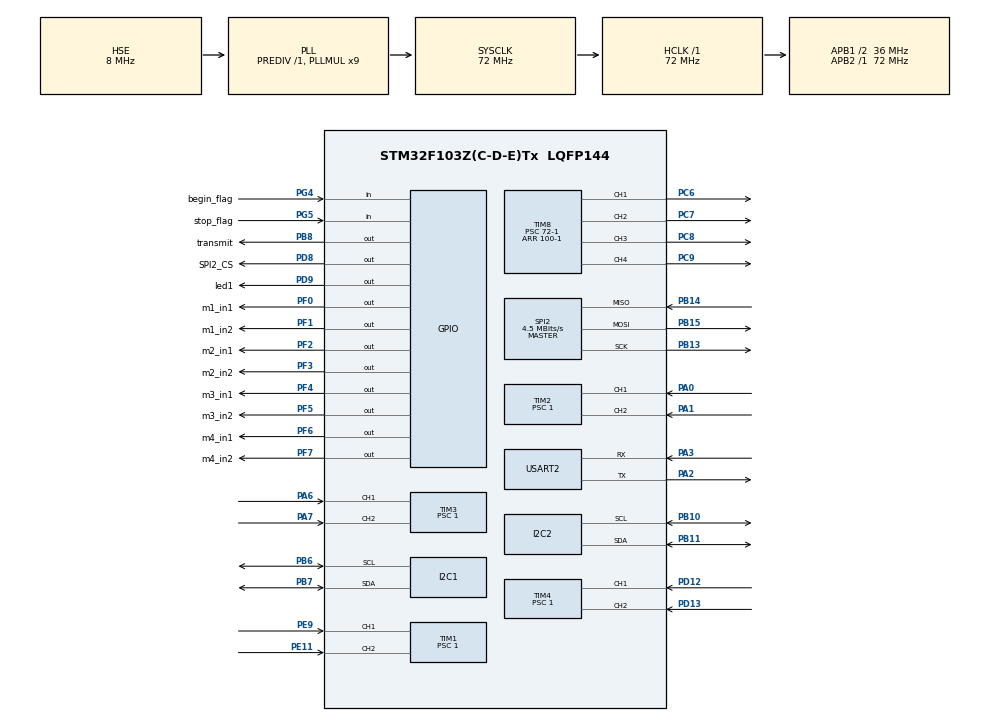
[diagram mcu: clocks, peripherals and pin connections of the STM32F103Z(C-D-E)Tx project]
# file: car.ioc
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Dma.Request0=USART2_RX
Dma.Request1=USART2_TX
Dma.USART2_RX.0.Direction=DMA_PERIPH_TO_MEMORY
Dma.USART2_RX.0.Instance=DMA1_Channel6
Dma.USART2_RX.0.MemDataAlignment=DMA_MDATAALIGN_BYTE
Dma.USART2_RX.0.MemInc=DMA_MINC_ENABLE
Dma.USART2_RX.0.Mode=DMA_NORMAL
Dma.USART2_RX.0.PeriphDataAlignment=DMA_PDATAALIGN_BYTE
Dma.USART2_RX.0.PeriphInc=DMA_PINC_DISABLE
Dma.USART2_RX.0.Priority=DMA_PRIORITY_LOW
Dma.USART2_TX.1.Direction=DMA_MEMORY_TO_PERIPH
Dma.USART2_TX.1.Instance=DMA1_Channel7
Dma.USART2_TX.1.MemDataAlignment=DMA_MDATAALIGN_BYTE
Dma.USART2_TX.1.MemInc=DMA_MINC_ENABLE
Dma.USART2_TX.1.Mode=DMA_NORMAL
Dma.USART2_TX.1.PeriphDataAlignment=DMA_PDATAALIGN_BYTE
Dma.USART2_TX.1.PeriphInc=DMA_PINC_DISABLE
Dma.USART2_TX.1.Priority=DMA_PRIORITY_LOW
I2C1.I2C_Mode=I2C_Fast
I2C2.I2C_Mode=I2C_Fast
Mcu.Family=STM32F1
Mcu.Name=STM32F103Z(C-D-E)Tx
Mcu.Package=LQFP144
NVIC.DMA1_Channel6_IRQn=true\:0\:0\:false\:false\:true\:false\:true\:true
NVIC.DMA1_Channel7_IRQn=true\:0\:0\:false\:false\:true\:false\:true\:true
NVIC.PriorityGroup=NVIC_PRIORITYGROUP_4
NVIC.TIM6_IRQn=true\:1\:0\:true\:false\:true\:true\:true\:true
NVIC.USART2_IRQn=true\:0\:0\:false\:false\:true\:true\:true\:true
OSC_IN.Mode=HSE-External-Oscillator
OSC_IN.Signal=RCC_OSC_IN
OSC_OUT.Mode=HSE-External-Oscillator
OSC_OUT.Signal=RCC_OSC_OUT
PA0-WKUP.Signal=S_TIM2_CH1_ETR
PA1.Signal=S_TIM2_CH2
PA13.Mode=Serial_Wire
PA13.Signal=SYS_JTMS-SWDIO
PA14.Mode=Serial_Wire
PA14.Signal=SYS_JTCK-SWCLK
PA2.Mode=Asynchronous
PA2.Signal=USART2_TX
PA3.Mode=Asynchronous
PA3.Signal=USART2_RX
PA6.Signal=S_TIM3_CH1
PA7.Signal=S_TIM3_CH2
PB10.Mode=I2C
PB10.Signal=I2C2_SCL
PB11.Mode=I2C
PB11.Signal=I2C2_SDA
PB13.Mode=Full_Duplex_Master
PB13.Signal=SPI2_SCK
PB14.Mode=Full_Duplex_Master
PB14.Signal=SPI2_MISO
PB15.Mode=Full_Duplex_Master
PB15.Signal=SPI2_MOSI
PB6.Mode=I2C
PB6.Signal=I2C1_SCL
PB7.Mode=I2C
PB7.Signal=I2C1_SDA
PB8.GPIO_Label=transmit
PB8.Signal=GPIO_Output
PC6.Signal=S_TIM8_CH1
PC7.Signal=S_TIM8_CH2
PC8.Signal=S_TIM8_CH3
PC9.Signal=S_TIM8_CH4
PD12.Signal=S_TIM4_CH1
PD13.Signal=S_TIM4_CH2
PD8.GPIO_Label=SPI2_CS
PD8.GPIO_Speed=GPIO_SPEED_FREQ_HIGH
PD8.PinState=GPIO_PIN_SET
PD8.Signal=GPIO_Output
PD9.GPIO_Label=led1
PD9.Signal=GPIO_Output
PE11.Signal=S_TIM1_CH2
PE9.Signal=S_TIM1_CH1
PF0.GPIO_Label=m1_in1
PF0.Signal=GPIO_Output
PF1.GPIO_Label=m1_in2
PF1.Signal=GPIO_Output
PF2.GPIO_Label=m2_in1
PF2.Signal=GPIO_Output
PF3.GPIO_Label=m2_in2
PF3.Signal=GPIO_Output
PF4.GPIO_Label=m3_in1
PF4.Signal=GPIO_Output
PF5.GPIO_Label=m3_in2
PF5.Signal=GPIO_Output
PF6.GPIO_Label=m4_in1
PF6.Signal=GPIO_Output
PF7.GPIO_Label=m4_in2
PF7.Signal=GPIO_Output
PG4.GPIO_Label=begin_flag
PG4.GPIO_PuPd=GPIO_PULLDOWN
PG4.Signal=GPIO_Input
PG5.GPIO_Label=stop_flag
PG5.GPIO_PuPd=GPIO_PULLDOWN
PG5.Signal=GPIO_Input
ProjectManager.HeapSize=0x200
ProjectManager.StackSize=0x400
ProjectManager.TargetToolchain=STM32CubeIDE
RCC.AHBFreq_Value=72000000
RCC.APB1CLKDivider=RCC_HCLK_DIV2
RCC.APB1Freq_Value=36000000
RCC.APB1TimFreq_Value=72000000
RCC.APB2Freq_Value=72000000
RCC.APB2TimFreq_Value=72000000
RCC.HCLKFreq_Value=72000000
RCC.PLLMUL=RCC_PLL_MUL9
RCC.PLLSourceVirtual=RCC_PLLSOURCE_HSE
RCC.SYSCLKFreq_VALUE=72000000
RCC.SYSCLKSource=RCC_SYSCLKSOURCE_PLLCLK
RCC.USBFreq_Value=72000000
SH.S_TIM1_CH1.0=TIM1_CH1,Encoder_Interface
SH.S_TIM1_CH2.0=TIM1_CH2,Encoder_Interface
SH.S_TIM2_CH1_ETR.0=TIM2_CH1,Encoder_Interface
SH.S_TIM2_CH2.0=TIM2_CH2,Encoder_Interface
SH.S_TIM3_CH1.0=TIM3_CH1,Encoder_Interface
SH.S_TIM3_CH2.0=TIM3_CH2,Encoder_Interface
SH.S_TIM4_CH1.0=TIM4_CH1,Encoder_Interface
SH.S_TIM4_CH2.0=TIM4_CH2,Encoder_Interface
SH.S_TIM8_CH1.0=TIM8_CH1,PWM Generation1 CH1
SH.S_TIM8_CH2.0=TIM8_CH2,PWM Generation2 CH2
SH.S_TIM8_CH3.0=TIM8_CH3,PWM Generation3 CH3
SH.S_TIM8_CH4.0=TIM8_CH4,PWM Generation4 CH4
SPI2.BaudRatePrescaler=SPI_BAUDRATEPRESCALER_8
SPI2.CLKPhase=SPI_PHASE_2EDGE
SPI2.CLKPolarity=SPI_POLARITY_HIGH
SPI2.CalculateBaudRate=4.5 MBits/s
SPI2.Direction=SPI_DIRECTION_2LINES
SPI2.Mode=SPI_MODE_MASTER
SPI2.VirtualType=VM_MASTER
TIM1.IC1Filter=15
TIM1.IC2Filter=15
TIM1.Prescaler=1
TIM2.IC1Filter=15
TIM2.IC2Filter=15
TIM2.Prescaler=1
TIM3.IC1Filter=15
TIM3.IC2Filter=15
TIM3.Prescaler=1
TIM4.IC1Filter=15
TIM4.IC2Filter=15
TIM4.Prescaler=1
TIM6.Period=1000-1
TIM6.Prescaler=720-1
TIM8.Channel-PWM\ Generation1\ CH1=TIM_CHANNEL_1
TIM8.Channel-PWM\ Generation2\ CH2=TIM_CHANNEL_2
TIM8.Channel-PWM\ Generation3\ CH3=TIM_CHANNEL_3
TIM8.Channel-PWM\ Generation4\ CH4=TIM_CHANNEL_4
TIM8.Period=100-1
TIM8.Prescaler=72-1
USART2.VirtualMode=VM_ASYNC
VP_TIM6_VS_ClockSourceINT.Mode=Enable_Timer
VP_TIM8_VS_ClockSourceINT.Mode=Internal
board=custom

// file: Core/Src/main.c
/* USER CODE BEGIN Header */
/**
  ******************************************************************************
  * @file           : main.c
  * @brief          : Main program body
  ******************************************************************************
  * @attention
  *
  * Copyright (c) 2025 STMicroelectronics.
  * All rights reserved.
  *
  * This software is licensed under terms that can be found in the LICENSE file
  * in the root directory of this software component.
  * If no LICENSE file comes with this software, it is provided AS-IS.
  *
  ******************************************************************************
  */
/* USER CODE END Header */
#include "main.h"
#include "dma.h"
#include "i2c.h"
#include "spi.h"
#include "tim.h"
#include "usart.h"
#include "gpio.h"

/* USER CODE BEGIN Includes */
#include<stdio.h>
#include<string.h>
#include"pid.h"
#include"icm20948.h"
#include"icm20948_ahrs.h"
#include"position.h"
#include"oled.h"
#include"MPU6050.h"
#include"recieve data.h"
/* USER CODE END Includes */

/* USER CODE BEGIN PTD */
//      char message[20]="a";
//		char message2[20]="a";
//		char message3[20]="a";
//		float speed=0.0;
//		float out1;
//		uint16_t count=0;
//		int sum=0;
//	    float target,actual,errsum;
//   axises gyro, accel, mag;
//axises my_fiterdata;
//Attitude my_attitude;
//AttitudeSolver_t attitude;
//Attitude_t angles;
extern float last_gyro_zero_z;
extern DMA_HandleTypeDef hdma_usart2_rx;
bool calibrationComplete = false;
bool flag=1;
bool game_begin=false;
//bool game_begin=true;
bool stop_flag=false;
bool half_flag=false;
bool position_state=false;
bool rotate_state=false;
char position_data[64];
float positiondata_float[4];
int count=1;
int rotate_count=0;
int check;

extern int count_now1,count_now2,count_now3,count_now4;
MPU6050 MM;

   //   uint8_t flag,flag_test_PID=0;
      float count1,count2,count3,count4;
void HAL_TIM_PeriodElapsedCallback(TIM_HandleTypeDef *htim){
	if(htim==&htim6){
static int count5=0;
 count5++;
MPU6050_Get_Angle_Plus(& MM) ;
static uint8_t buffer[30];
			 sprintf(buffer,"%f",MM.yaw);
			  OLED_NewFrame();
			 OLED_PrintString(13, 30 , buffer, &font16x16, OLED_COLOR_NORMAL);
			  OLED_ShowFrame();
      if(count5==6){

		 if(MM.yaw*3<=65) {pid_speed_control(-40, 40, -40, 40);}
		 else if(MM.yaw*3<=87){pid_speed_control(-20,20, -20, 20);}
//		 else if(MM.yaw*3>93){
//			 pid_speed_control(-10,10, -10, 10);
//		 }
		 else {
			 motor_PWM_control4(0,0,0,0);

				 rotate_state=true;
				  reinit();
				 HAL_TIM_Base_Stop_IT(&htim6);
				 __HAL_TIM_CLEAR_FLAG(&htim6,TIM_IT_UPDATE);
				 __HAL_TIM_DISABLE_IT(&htim6,TIM_IT_UPDATE);
		 }
count5=0;
	}
	}

}
void HAL_UARTEx_RxEventCallback(UART_HandleTypeDef *huart, uint16_t Size){

	if(huart==&huart2)
	{check++;
		//HAL_UART_Transmit(&huart2, (uint8_t*)position_data, sizeof(position_data),Size);
		Unpack_Floats(position_data,positiondata_float);
 //int aaa=Unpack_Floats(position_data,positiondata_float);

//if(aaa==4){

if(positiondata_float[2]>=2){
	half_flag=true;

}
if(half_flag){
	if(positiondata_float[0]<=0.5){
		 motor_PWM_control4(0,0,0,0);
position_state=true;

	}
}
			  PositionPID_Control(30,positiondata_float[1]);

//			if(positiondata_float[0]<=1.20){
//				 PositionPID_Control(20,positiondata_float[1]);
//			}
//			else if (positiondata_float[0]<=1.05) {
//				//Second_Level_Control(positiondata_float, 0,1);
//				 motor_PWM_control4(0,0,0,0);
//				 position_state=true;
//			}
//			else{
//				 PositionPID_Control(30,positiondata_float[1]);
//			}

//		if(count==?){
//			//降速
//		}
	  memset(position_data, 0, sizeof(position_data));
		  HAL_UARTEx_ReceiveToIdle_DMA(&huart2, (uint8_t*)position_data, sizeof( position_data));
		 __HAL_DMA_DISABLE_IT(&hdma_usart2_rx,DMA_IT_HT);

	}

}

/* USER CODE END PTD */

void SystemClock_Config(void);

int main(void)
{

  /* MCU Configuration--------------------------------------------------------*/

  /* Reset of all peripherals, Initializes the Flash interface and the Systick. */
  HAL_Init();

  /* Configure the system clock */
  SystemClock_Config();

  /* Initialize all configured peripherals */
  MX_GPIO_Init();
  MX_DMA_Init();
  MX_I2C1_Init();
  MX_TIM1_Init();
  MX_TIM2_Init();
  MX_TIM3_Init();
  MX_TIM4_Init();
  MX_TIM6_Init();
  MX_TIM8_Init();
  MX_SPI2_Init();
  MX_I2C2_Init();
  MX_USART2_UART_Init();
  /* USER CODE BEGIN 2 */
  HAL_Delay(20);
  OLED_Init();

  OLED_NewFrame();
 OLED_PrintString(13, 30 , "wait", &font16x16, OLED_COLOR_NORMAL);
  OLED_ShowFrame();
  MPU6050_init(&hi2c1);
  OLED_NewFrame();
  OLED_PrintString(13, 30 , "ok", &font16x16, OLED_COLOR_NORMAL);
   OLED_ShowFrame();
//  system_init();
//
//		    // 初始化姿态解算器
//		      Attitude_Init(&attitude);
//
//		      // 校准陀螺仪Z轴
//  Attitude_Calibrate_Gyro_Z(&attitude, 500);
//     Attitude_Calibrate_Accel(&attitude, 500);     // 加速度计校准
// icm20948_gyro_read_dps(&gyro);
//  icm20948_accel_read_g(&accel);
 // 更新姿态（选择一种算法）
 //   Attitude_Update_Complementary(&attitude, &gyro, &accel, 0.01f);
		     	        // 或者使用四元数算法
 // Attitude_Update_Quaternion(&attitude, &gyro, &accel, 0.01f);

		     	        // 获取姿态角
//  Attitude_Get_Angles(&attitude, &angles);
//   static char buffer22[16];
//	 snprintf(buffer22, sizeof(buffer22), "yaw:%.2f", angles.yaw);
// OLED_NewFrame();
//OLED_PrintString(13, 30 , buffer22, &font16x16, OLED_COLOR_NORMAL);
// OLED_ShowFrame();

  HAL_TIM_Encoder_Start(&htim1, TIM_CHANNEL_ALL);
  HAL_TIM_Encoder_Start(&htim2, TIM_CHANNEL_ALL);
  HAL_TIM_Encoder_Start(&htim3, TIM_CHANNEL_ALL);
  HAL_TIM_Encoder_Start(&htim4, TIM_CHANNEL_ALL);
  HAL_TIM_PWM_Start(&htim8,TIM_CHANNEL_1);
  HAL_TIM_PWM_Start(&htim8,TIM_CHANNEL_2);
  HAL_TIM_PWM_Start(&htim8,TIM_CHANNEL_3);
  HAL_TIM_PWM_Start(&htim8,TIM_CHANNEL_4);

 //HAL_TIM_Base_Start_IT(&htim6);
 // HAL_TIM_Base_Stop_IT(&htim6);

//  HAL_UARTEx_ReceiveToIdle_DMA(&huart2, (uint8_t*)position_data, sizeof( position_data));
// __HAL_DMA_DISABLE_IT(&hdma_usart2_rx,DMA_IT_HT);
//HAL_GPIO_WritePin(transmit_GPIO_Port, transmit_Pin, GPIO_PIN_SET);

  /* USER CODE END 2 */

  /* Infinite loop */
  /* USER CODE BEGIN WHILE */
  while (1)
  {

//	  if(rotate_state){/
//		  HAL_TIM_Base_Stop_IT(&htim6);
//	  }
//	     static char buffer22[16];
//	  	 snprintf(buffer22, sizeof(buffer22), "yaw:%.2f", MM.yaw);
//	   OLED_NewFrame();
//	  OLED_PrintString(13, 30 , buffer22, &font16x16, OLED_COLOR_NORMAL);
//	   OLED_ShowFrame();
	  //********************************************
	  if(HAL_GPIO_ReadPin(begin_flag_GPIO_Port, begin_flag_Pin)==GPIO_PIN_SET&&!game_begin){
		  game_begin=true;

	  }
//	  if(HAL_GPIO_ReadPin(stop_flag_GPIO_Port, stop_flag_Pin)==GPIO_PIN_SET&&!stop_flag){
//		  stop_flag=true;
//		  HAL_TIM_PWM_Stop(&htim8, TIM_CHANNEL_ALL);
//		  HAL_TIM_Base_Stop_IT(&htim6);
//		  HAL_UART_DMAStop(&huart2);
//	  }
	  if(game_begin&&!stop_flag){

//
//	  if(HAL_GPIO_ReadPin(stop_flag_GPIO_Port, stop_flag_Pin)==GPIO_PIN_SET&&!stop_flag){
//		  HAL_TIM_Base_Stop_IT(&htim6);
//		  HAL_TIM_PWM_Stop(&htim8, TIM_CHANNEL_ALL);
//		  game_begin=false;  }

	  if(count==1&&!position_state&&!rotate_state){
		  HAL_TIM_Base_Stop_IT(&htim6);
		  HAL_UARTEx_ReceiveToIdle_DMA(&huart2, (uint8_t*)position_data, sizeof( position_data));
		 __HAL_DMA_DISABLE_IT(&hdma_usart2_rx,DMA_IT_HT);
		 HAL_GPIO_WritePin(transmit_GPIO_Port, transmit_Pin, GPIO_PIN_SET);

	  }
	  else if(count==1&&!rotate_state&&position_state){
		  HAL_GPIO_WritePin(transmit_GPIO_Port, transmit_Pin, GPIO_PIN_RESET);
		  HAL_UART_DMAStop(&huart2);
		  memset(position_data, 0, sizeof(position_data));
		  MPU6050_FastResetYaw_Complementary(&MM);
		  __HAL_TIM_ENABLE_IT(&htim6,TIM_IT_UPDATE);
				  HAL_TIM_Base_Start_IT(&htim6);
	  }
	  else if(count==1&&position_state&&rotate_state){
		  count++;
		  position_state=false;
			  rotate_state=false;
			  HAL_TIM_Base_Stop_IT(&htim6);
			  __HAL_TIM_DISABLE_IT(&htim6,TIM_IT_UPDATE);
	  }
//***********************************************
	  if(count==2&&!position_state&&!rotate_state){
		  HAL_TIM_Base_Stop_IT(&htim6);
		  HAL_UARTEx_ReceiveToIdle_DMA(&huart2, (uint8_t*)position_data, sizeof( position_data));
		 __HAL_DMA_DISABLE_IT(&hdma_usart2_rx,DMA_IT_HT);

		 HAL_GPIO_WritePin(transmit_GPIO_Port, transmit_Pin, GPIO_PIN_SET);
	  }
	  else if(count==2&&!rotate_state&&position_state){
		  __HAL_TIM_ENABLE_IT(&htim6,TIM_IT_UPDATE);

		  HAL_GPIO_WritePin(transmit_GPIO_Port, transmit_Pin, GPIO_PIN_RESET);
		  HAL_UART_DMAStop(&huart2);
			  memset(position_data, 0, sizeof(position_data));
			  MPU6050_FastResetYaw_Complementary(&MM);

			  HAL_TIM_Base_Start_IT(&htim6);
	  }
	  else if(count==2&&position_state&&rotate_state){
		  count++;
		  position_state=false;
			  rotate_state=false;
			  HAL_TIM_Base_Stop_IT(&htim6);
			  __HAL_TIM_DISABLE_IT(&htim6,TIM_IT_UPDATE);
	  }
	  //**********************************************
	  if(count==3&&!position_state&&!rotate_state){
		  HAL_TIM_Base_Stop_IT(&htim6);
		  HAL_UARTEx_ReceiveToIdle_DMA(&huart2, (uint8_t*)position_data, sizeof( position_data));
		 __HAL_DMA_DISABLE_IT(&hdma_usart2_rx,DMA_IT_HT);

		 HAL_GPIO_WritePin(transmit_GPIO_Port, transmit_Pin, GPIO_PIN_SET);
	  }
	  else if(count==3&&!rotate_state&&position_state){
		  HAL_GPIO_WritePin(transmit_GPIO_Port, transmit_Pin, GPIO_PIN_RESET);
		  HAL_UART_DMAStop(&huart2);
			  memset(position_data, 0, sizeof(position_data));
			  MPU6050_FastResetYaw_Complementary(&MM);
			  __HAL_TIM_ENABLE_IT(&htim6,TIM_IT_UPDATE);
					  HAL_TIM_Base_Start_IT(&htim6);
	  }
	  else if(count==3&&position_state&&rotate_state){
		  count++;
		  position_state=false;
			  rotate_state=false;
			  HAL_TIM_Base_Stop_IT(&htim6);
	  }
	  //*******************************************
	  if(count==4&&!position_state&&!rotate_state){
		  HAL_TIM_Base_Stop_IT(&htim6);
		  HAL_UARTEx_ReceiveToIdle_DMA(&huart2, (uint8_t*)position_data, sizeof( position_data));
		 __HAL_DMA_DISABLE_IT(&hdma_usart2_rx,DMA_IT_HT);
		 HAL_GPIO_WritePin(transmit_GPIO_Port, transmit_Pin, GPIO_PIN_SET);
	  }
	  else if(count==4&&!rotate_state&&position_state){
		  __HAL_TIM_ENABLE_IT(&htim6,TIM_IT_UPDATE);
		  HAL_GPIO_WritePin(transmit_GPIO_Port, transmit_Pin, GPIO_PIN_RESET);
		  HAL_UART_DMAStop(&huart2);
			  memset(position_data, 0, sizeof(position_data));
			  MPU6050_FastResetYaw_Complementary(&MM);

					  HAL_TIM_Base_Start_IT(&htim6);
	  }
	  else if(count==4&&position_state&&rotate_state){
		  count=1;
		  position_state=false;
		  rotate_state=false;
		  HAL_TIM_Base_Stop_IT(&htim6);

	  }
	  }
//**********************************************************************
//
//
//	  }
//  OLED_NewFrame();
////  sprintf(message,"speed: %.3f",speed);
//  sprintf(message,"out: %.3f",out1);
//    sprintf(message2,"count: %d",count);
//    sprintf(message3,"sum: %d",sum);
//OLED_PrintString(13, 0, message, &font16x16, OLED_COLOR_NORMAL);
// OLED_PrintString(13, 15 , message2, &font16x16, OLED_COLOR_NORMAL);
//  // OLED_PrintString(13, 30 , "target: 49.5", &font16x16, OLED_COLOR_NORMAL);
////
// OLED_PrintString(13, 45 , message3, &font16x16, OLED_COLOR_NORMAL);
//  OLED_ShowFrame();
    /* USER CODE END WHILE */

  }
}

void SystemClock_Config(void)
{
  RCC_OscInitTypeDef RCC_OscInitStruct = {0};
  RCC_ClkInitTypeDef RCC_ClkInitStruct = {0};

  /** Initializes the RCC Oscillators according to the specified parameters
  * in the RCC_OscInitTypeDef structure.
  */
  RCC_OscInitStruct.OscillatorType = RCC_OSCILLATORTYPE_HSE;
  RCC_OscInitStruct.HSEState = RCC_HSE_ON;
  RCC_OscInitStruct.HSEPredivValue = RCC_HSE_PREDIV_DIV1;
  RCC_OscInitStruct.HSIState = RCC_HSI_ON;
  RCC_OscInitStruct.PLL.PLLState = RCC_PLL_ON;
  RCC_OscInitStruct.PLL.PLLSource = RCC_PLLSOURCE_HSE;
  RCC_OscInitStruct.PLL.PLLMUL = RCC_PLL_MUL9;
  if (HAL_RCC_OscConfig(&RCC_OscInitStruct) != HAL_OK)
  {
    Error_Handler();
  }

  /** Initializes the CPU, AHB and APB buses clocks
  */
  RCC_ClkInitStruct.ClockType = RCC_CLOCKTYPE_HCLK|RCC_CLOCKTYPE_SYSCLK
                              |RCC_CLOCKTYPE_PCLK1|RCC_CLOCKTYPE_PCLK2;
  RCC_ClkInitStruct.SYSCLKSource = RCC_SYSCLKSOURCE_PLLCLK;
  RCC_ClkInitStruct.AHBCLKDivider = RCC_SYSCLK_DIV1;
  RCC_ClkInitStruct.APB1CLKDivider = RCC_HCLK_DIV2;
  RCC_ClkInitStruct.APB2CLKDivider = RCC_HCLK_DIV1;

  if (HAL_RCC_ClockConfig(&RCC_ClkInitStruct, FLASH_LATENCY_2) != HAL_OK)
  {
    Error_Handler();
  }
}

void Error_Handler(void)
{
  __disable_irq();
  while (1)
  {
  }
}
